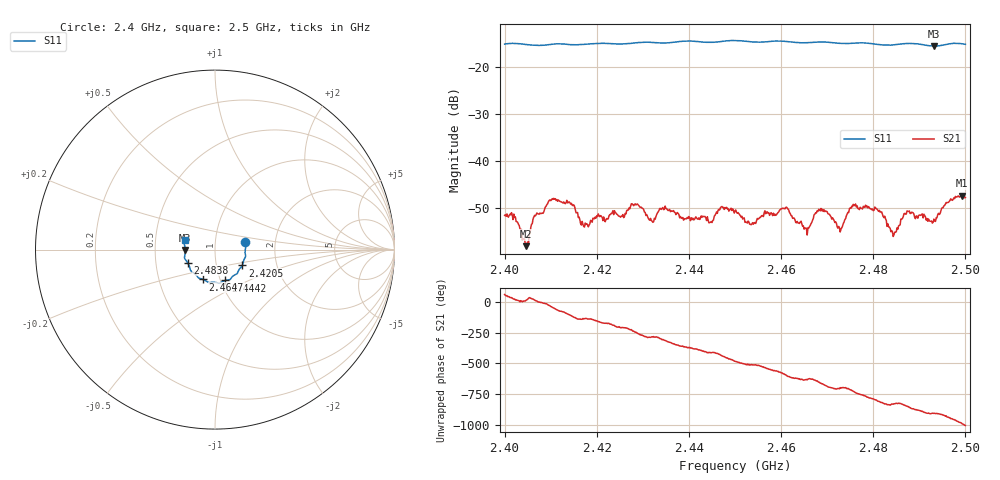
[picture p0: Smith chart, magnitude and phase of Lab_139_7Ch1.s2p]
# Hz S RI R 50
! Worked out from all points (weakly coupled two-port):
!   601 points, 2.4 GHz to 2.5 GHz, reference 50 ohm
!   highest |S21| = -47.47 dB at 2.4993 GHz (marker M1); lowest = -58.2 dB at 2.4047 GHz (marker M2)
!   lowest |S11| = -15.6 dB at 2.4932 GHz (marker M3), VSWR 1.40, Z = 35.8 - j0.17 ohm
!   |S11| at or under -10 dB: start of sweep to end of sweep
!   S12 and S22 are empty: the file has one direction only
!   S11 on the Smith chart (normalised r, x): 2.4 GHz: 1.40, +0.11; 2.4205 GHz: 1.34, -0.24; 2.4442 GHz: 1.05, -0.37; 2.4647 GHz: 0.83, -0.29; 2.4838 GHz: 0.73, -0.11; 2.5 GHz: 0.71, +0.08
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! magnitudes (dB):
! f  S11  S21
! 2.4 GHz  -15.2  -51.7
! 2.4047 GHz  -15.3  -58.2
! 2.4067 GHz  -15.5  -51.8
! 2.4102 GHz  -15.2  -48.4
! 2.4167 GHz  -15.3  -53.7
! 2.4205 GHz  -15.1  -51.8
! 2.4333 GHz  -15.0  -50.9
! 2.4442 GHz  -14.8  -52.7
! 2.45 GHz  -14.4  -50.7
! 2.4537 GHz  -14.7  -53.5
! 2.461 GHz  -14.6  -50.0
! 2.4647 GHz  -14.9  -54.0
! 2.4667 GHz  -14.8  -53.1
! 2.4692 GHz  -14.8  -50.8
! 2.4728 GHz  -15.1  -55.2
! 2.476 GHz  -15.0  -49.6
! 2.4833 GHz  -15.4  -54.1
! 2.4838 GHz  -15.4  -55.1
! 2.4873 GHz  -15.1  -50.7
! 2.4932 GHz  -15.6  -52.5
! 2.4993 GHz  -15.2  -47.5
! 2.5 GHz  -15.3  -47.9
